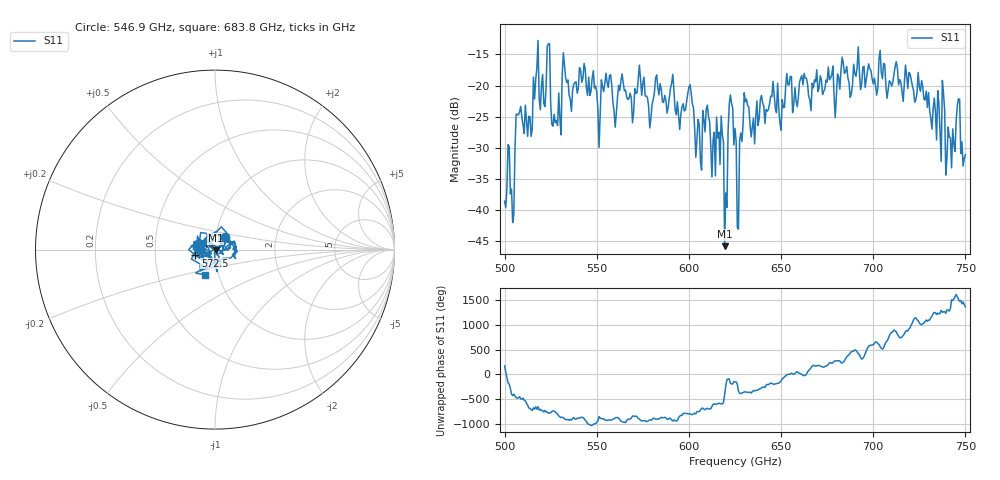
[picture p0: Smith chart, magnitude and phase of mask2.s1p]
!Created with skrf (http://scikit-rf.org).
# GHz S MA R 50.0
!freq magS11 angS11
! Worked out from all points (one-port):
!   401 points, 500 GHz to 750 GHz, reference 50 ohm
!   lowest |S11| = -45.8 dB at 619.4 GHz (marker M1), VSWR 1.01, Z = 50.4 - j0.364 ohm
!   |S11| at or under -10 dB: start of sweep to end of sweep
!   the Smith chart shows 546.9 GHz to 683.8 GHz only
!   S11 on the Smith chart (normalised r, x): 546.9 GHz: 1.10, +0.16; 572.5 GHz: 0.80, -0.05; 683.8 GHz: 0.86, -0.25
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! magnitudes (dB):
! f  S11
! 500 GHz  -38.6
! 504.4 GHz  -42.1
! 507.5 GHz  -24.8
! 513.8 GHz  -25.0
! 516.9 GHz  -19.0
! 523.8 GHz  -13.3
! 526.9 GHz  -24.6
! 531.2 GHz  -18.2
! 546.9 GHz  -20.9
! 562.5 GHz  -20.8
! 572.5 GHz  -18.9
! 593.8 GHz  -22.6
! 600 GHz  -20.3
! 605.6 GHz  -26.4
! 616.2 GHz  -27.5
! 619.4 GHz  -45.8
! 622.5 GHz  -21.5
! 625 GHz  -26.9
! 627.5 GHz  -28.9
! 631.2 GHz  -22.2
! 634.4 GHz  -26.7
! 656.2 GHz  -24.4
! 683.8 GHz  -16.4
! 687.5 GHz  -21.9
! 718.8 GHz  -20.5
! 740.6 GHz  -26.7
! 746.2 GHz  -22.1
! 750 GHz  -31.1
